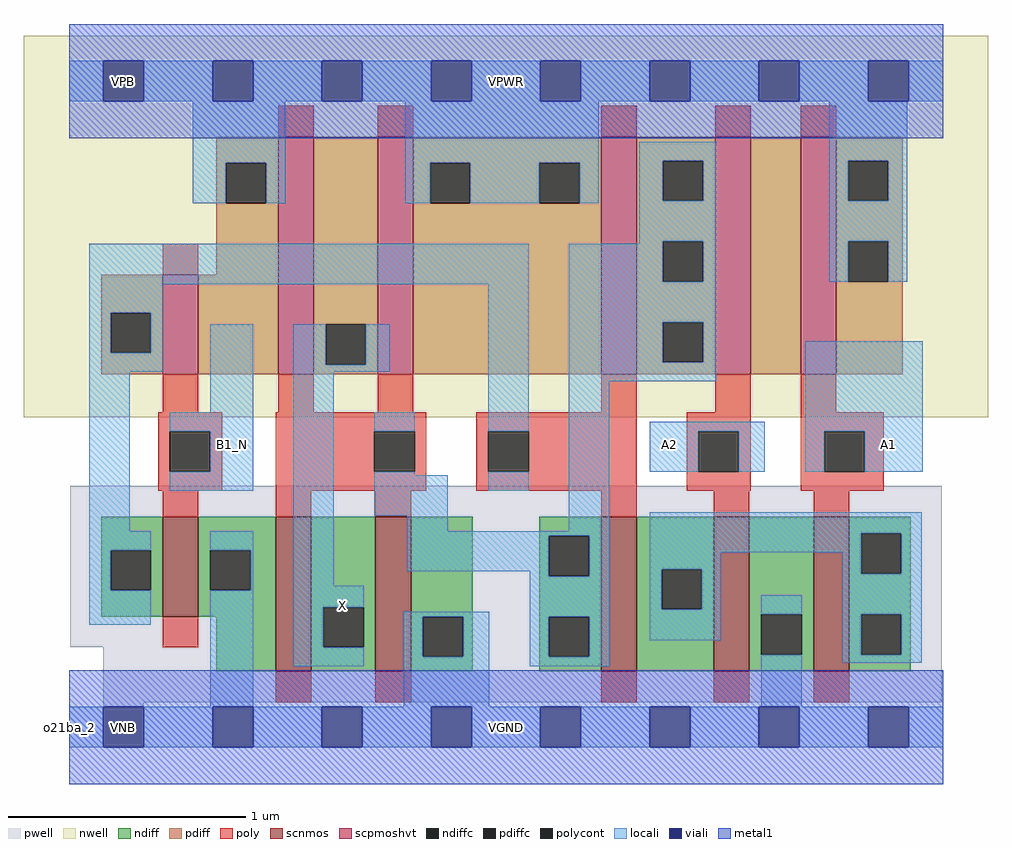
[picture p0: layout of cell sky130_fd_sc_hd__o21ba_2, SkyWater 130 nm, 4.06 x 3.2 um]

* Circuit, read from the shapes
.subckt sky130_fd_sc_hd__o21ba_2 A1 A2 B1_N VGND VNB VPB VPWR X
XM1 VGND B1_N n1 VNB sky130_fd_pr__nfet_01v8 w=0.42 l=0.15
XM2 X n2 VGND VNB sky130_fd_pr__nfet_01v8 w=0.65 l=0.15 m=2
XM3 n3 n1 n2 VNB sky130_fd_pr__nfet_01v8 w=0.65 l=0.15
XM4 VGND A2 n3 VNB sky130_fd_pr__nfet_01v8 w=0.65 l=0.15
XM5 n3 A1 VGND VNB sky130_fd_pr__nfet_01v8 w=0.65 l=0.15
XM6 VPWR B1_N n1 VPB sky130_fd_pr__pfet_01v8_hvt w=0.42 l=0.15
XM7 X n2 VPWR VPB sky130_fd_pr__pfet_01v8_hvt w=1 l=0.15 m=2
XM8 n2 n1 VPWR VPB sky130_fd_pr__pfet_01v8_hvt w=1 l=0.15
XM9 n4 A2 n2 VPB sky130_fd_pr__pfet_01v8_hvt w=1 l=0.15
XM10 VPWR A1 n4 VPB sky130_fd_pr__pfet_01v8_hvt w=1 l=0.15
.ends

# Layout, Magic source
magic
tech sky130B
magscale 1 2
<< nwell >>
rect -38 261 774 582
<< pwell >>
rect 1 67 735 203
rect 29 21 735 67
rect 29 -17 63 21
<< scnmos >>
rect 79 93 109 177
rect 174 47 204 177
rect 258 47 288 177
rect 448 47 478 177
rect 543 47 573 177
rect 627 47 657 177
<< scpmoshvt >>
rect 79 297 109 381
rect 176 297 206 497
rect 260 297 290 497
rect 448 297 478 497
rect 544 297 574 497
rect 616 297 646 497
<< ndiff >>
rect 27 149 79 177
rect 27 115 35 149
rect 69 115 79 149
rect 27 93 79 115
rect 109 149 174 177
rect 109 115 119 149
rect 153 115 174 149
rect 109 93 174 115
rect 124 47 174 93
rect 204 101 258 177
rect 204 67 214 101
rect 248 67 258 101
rect 204 47 258 67
rect 288 93 340 177
rect 288 59 298 93
rect 332 59 340 93
rect 288 47 340 59
rect 396 161 448 177
rect 396 127 404 161
rect 438 127 448 161
rect 396 93 448 127
rect 396 59 404 93
rect 438 59 448 93
rect 396 47 448 59
rect 478 133 543 177
rect 478 99 499 133
rect 533 99 543 133
rect 478 47 543 99
rect 573 95 627 177
rect 573 61 583 95
rect 617 61 627 95
rect 573 47 627 61
rect 657 163 709 177
rect 657 129 667 163
rect 701 129 709 163
rect 657 95 709 129
rect 657 61 667 95
rect 701 61 709 95
rect 657 47 709 61
<< pdiff >>
rect 124 475 176 497
rect 124 441 132 475
rect 166 441 176 475
rect 124 381 176 441
rect 27 349 79 381
rect 27 315 35 349
rect 69 315 79 349
rect 27 297 79 315
rect 109 297 176 381
rect 206 339 260 497
rect 206 305 216 339
rect 250 305 260 339
rect 206 297 260 305
rect 290 475 448 497
rect 290 441 304 475
rect 338 441 396 475
rect 430 441 448 475
rect 290 297 448 441
rect 478 477 544 497
rect 478 443 500 477
rect 534 443 544 477
rect 478 409 544 443
rect 478 375 500 409
rect 534 375 544 409
rect 478 341 544 375
rect 478 307 500 341
rect 534 307 544 341
rect 478 297 544 307
rect 574 297 616 497
rect 646 477 702 497
rect 646 443 656 477
rect 690 443 702 477
rect 646 409 702 443
rect 646 375 656 409
rect 690 375 702 409
rect 646 297 702 375
<< ndiffc >>
rect 35 115 69 149
rect 119 115 153 149
rect 214 67 248 101
rect 298 59 332 93
rect 404 127 438 161
rect 404 59 438 93
rect 499 99 533 133
rect 583 61 617 95
rect 667 129 701 163
rect 667 61 701 95
<< pdiffc >>
rect 132 441 166 475
rect 35 315 69 349
rect 216 305 250 339
rect 304 441 338 475
rect 396 441 430 475
rect 500 443 534 477
rect 500 375 534 409
rect 500 307 534 341
rect 656 443 690 477
rect 656 375 690 409
<< poly >>
rect 176 497 206 523
rect 260 497 290 523
rect 448 497 478 523
rect 544 497 574 523
rect 616 497 646 523
rect 79 381 109 407
rect 79 265 109 297
rect 176 265 206 297
rect 260 265 290 297
rect 448 265 478 297
rect 544 265 574 297
rect 75 249 129 265
rect 75 215 85 249
rect 119 215 129 249
rect 75 199 129 215
rect 174 249 301 265
rect 174 215 257 249
rect 291 215 301 249
rect 174 199 301 215
rect 343 249 478 265
rect 343 215 353 249
rect 387 215 478 249
rect 343 199 478 215
rect 520 249 574 265
rect 520 215 530 249
rect 564 215 574 249
rect 520 199 574 215
rect 616 265 646 297
rect 616 249 686 265
rect 616 215 636 249
rect 670 215 686 249
rect 616 199 686 215
rect 79 177 109 199
rect 174 177 204 199
rect 258 177 288 199
rect 448 177 478 199
rect 543 177 573 199
rect 627 177 657 199
rect 79 67 109 93
rect 174 21 204 47
rect 258 21 288 47
rect 448 21 478 47
rect 543 21 573 47
rect 627 21 657 47
<< polycont >>
rect 85 215 119 249
rect 257 215 291 249
rect 353 215 387 249
rect 530 215 564 249
rect 636 215 670 249
<< locali >>
rect 0 527 29 561
rect 63 527 121 561
rect 155 527 213 561
rect 247 527 305 561
rect 339 527 397 561
rect 431 527 489 561
rect 523 527 581 561
rect 615 527 673 561
rect 707 527 736 561
rect 104 475 182 527
rect 104 441 132 475
rect 166 441 182 475
rect 283 475 446 527
rect 283 441 304 475
rect 338 441 396 475
rect 430 441 446 475
rect 480 477 545 493
rect 480 443 500 477
rect 534 443 545 477
rect 480 409 545 443
rect 480 407 500 409
rect 17 373 387 407
rect 17 349 79 373
rect 17 315 35 349
rect 69 315 79 349
rect 17 299 79 315
rect 17 165 51 299
rect 119 265 155 339
rect 85 249 155 265
rect 119 215 155 249
rect 85 199 155 215
rect 189 305 216 339
rect 250 305 270 339
rect 189 299 270 305
rect 17 149 69 165
rect 17 115 35 149
rect 17 86 69 115
rect 119 149 155 165
rect 153 115 155 149
rect 119 17 155 115
rect 189 119 223 299
rect 257 249 291 265
rect 257 212 291 215
rect 353 249 387 373
rect 257 178 319 212
rect 353 199 387 215
rect 421 375 500 407
rect 534 375 545 409
rect 640 477 706 527
rect 640 443 656 477
rect 690 443 706 477
rect 640 409 706 443
rect 640 375 656 409
rect 690 375 706 409
rect 421 341 545 375
rect 421 307 500 341
rect 534 307 545 341
rect 421 291 545 307
rect 285 165 319 178
rect 421 165 455 291
rect 489 249 586 257
rect 489 215 530 249
rect 564 215 586 249
rect 620 249 719 325
rect 620 215 636 249
rect 670 215 719 249
rect 285 161 455 165
rect 285 131 404 161
rect 388 127 404 131
rect 438 127 455 161
rect 189 101 248 119
rect 189 67 214 101
rect 189 51 248 67
rect 282 93 354 97
rect 282 59 298 93
rect 332 59 354 93
rect 282 17 354 59
rect 388 93 455 127
rect 388 59 404 93
rect 438 59 455 93
rect 489 163 718 181
rect 489 147 667 163
rect 489 133 549 147
rect 489 99 499 133
rect 533 99 549 133
rect 651 129 667 147
rect 701 129 718 163
rect 489 73 549 99
rect 583 95 617 111
rect 388 51 455 59
rect 583 17 617 61
rect 651 95 718 129
rect 651 61 667 95
rect 701 61 718 95
rect 651 54 718 61
rect 0 -17 29 17
rect 63 -17 121 17
rect 155 -17 213 17
rect 247 -17 305 17
rect 339 -17 397 17
rect 431 -17 489 17
rect 523 -17 581 17
rect 615 -17 673 17
rect 707 -17 736 17
<< viali >>
rect 29 527 63 561
rect 121 527 155 561
rect 213 527 247 561
rect 305 527 339 561
rect 397 527 431 561
rect 489 527 523 561
rect 581 527 615 561
rect 673 527 707 561
rect 29 -17 63 17
rect 121 -17 155 17
rect 213 -17 247 17
rect 305 -17 339 17
rect 397 -17 431 17
rect 489 -17 523 17
rect 581 -17 615 17
rect 673 -17 707 17
<< metal1 >>
rect 0 561 736 592
rect 0 527 29 561
rect 63 527 121 561
rect 155 527 213 561
rect 247 527 305 561
rect 339 527 397 561
rect 431 527 489 561
rect 523 527 581 561
rect 615 527 673 561
rect 707 527 736 561
rect 0 496 736 527
rect 0 17 736 48
rect 0 -17 29 17
rect 63 -17 121 17
rect 155 -17 213 17
rect 247 -17 305 17
rect 339 -17 397 17
rect 431 -17 489 17
rect 523 -17 581 17
rect 615 -17 673 17
rect 707 -17 736 17
rect 0 -48 736 -17
<< labels >>
flabel locali s 121 221 155 255 0 FreeSans 400 180 0 0 B1_N
port 3 nsew signal input
flabel locali s 673 221 707 255 0 FreeSans 400 0 0 0 A1
port 1 nsew signal input
flabel locali s 213 85 247 119 0 FreeSans 400 180 0 0 X
port 8 nsew signal output
flabel locali s 489 221 523 255 0 FreeSans 400 0 0 0 A2
port 2 nsew signal input
flabel pwell s 29 -17 63 17 0 FreeSans 200 0 0 0 VNB
port 5 nsew ground bidirectional
flabel nwell s 29 527 63 561 0 FreeSans 200 0 0 0 VPB
port 6 nsew power bidirectional
flabel metal1 s 29 -17 63 17 0 FreeSans 200 0 0 0 VGND
port 4 nsew ground bidirectional abutment
flabel metal1 s 29 527 63 561 0 FreeSans 200 0 0 0 VPWR
port 7 nsew power bidirectional abutment
rlabel comment s 0 0 0 0 4 o21ba_2
rlabel metal1 s 0 -48 736 48 1 VGND
port 4 nsew ground bidirectional abutment
rlabel metal1 s 0 496 736 592 1 VPWR
port 7 nsew power bidirectional abutment
<< properties >>
string FIXED_BBOX 0 0 736 544
string GDS_END 1301150
string GDS_FILE $PDKPATH/libs.ref/sky130_fd_sc_hd/gds/sky130_fd_sc_hd.gds
string GDS_START 1294862
string LEFclass CORE
string LEFsite unithd
string LEFsymmetry X Y R90
string path 0.000 0.000 3.680 0.000 
<< end >>
